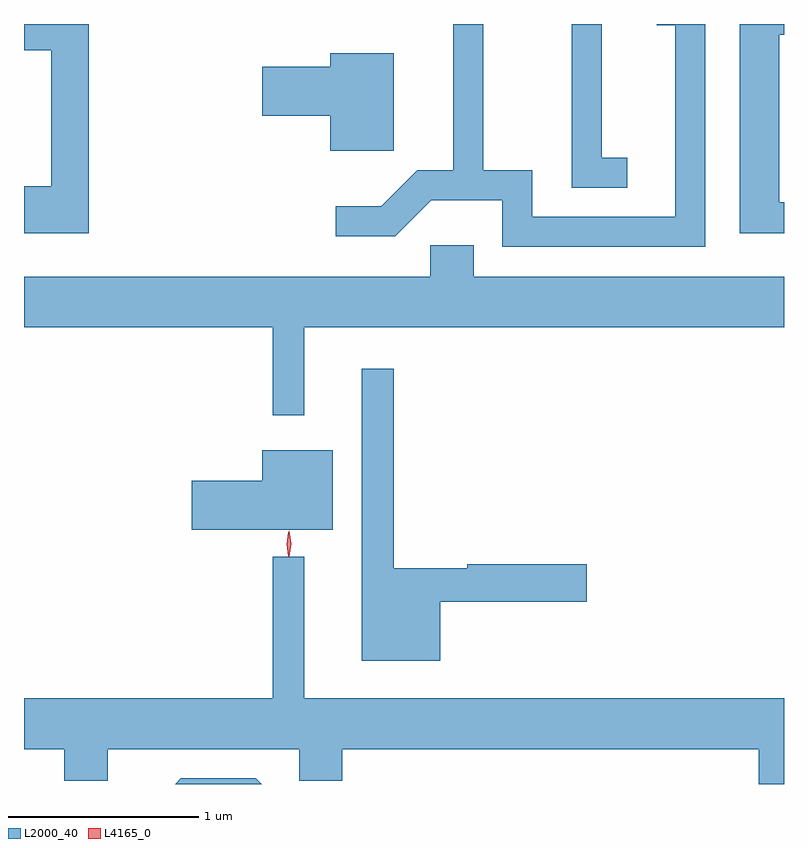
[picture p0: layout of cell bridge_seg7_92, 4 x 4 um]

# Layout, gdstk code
import gdstk
lib = gdstk.Library(unit=1e-6, precision=1e-09)
def P(c, l, *ps):  # polygons
    for p in ps: c.add(gdstk.Polygon(p, *l))
L2000_40 = (2000, 40)
L4165_0 = (4165, 0)

bridge_seg7_92 = lib.new_cell('bridge_seg7_92')
P(bridge_seg7_92, L2000_40, [(1641.433,1757.154),(1641.409,1757.154),(1641.409,1758.036),(1641.433,1758.036),(1641.433,1758.093),(1641.201,1758.093),(1641.201,1756.991),(1641.433,1756.991)],
  [(1637.774,1758.093),(1637.433,1758.093),(1637.433,1757.956),(1637.576,1757.956),(1637.576,1757.239),(1637.433,1757.239),(1637.433,1756.991),(1637.774,1756.991)],
  [(1640.608,1757.389),(1640.474,1757.389),(1640.474,1758.093),(1640.316,1758.093),(1640.316,1757.231),(1640.608,1757.231)],
  [(1641.019,1758.093),(1640.763,1758.093),(1640.763,1758.086),(1640.861,1758.086),(1640.861,1757.079),(1640.109,1757.079),(1640.109,1757.324),(1639.849,1757.324),(1639.849,1758.093),(1639.691,1758.093),(1639.691,1757.324),(1639.504,1757.324),(1639.314,1757.134),(1639.073,1757.134),(1639.073,1756.976),(1639.387,1756.976),(1639.577,1757.166),(1639.951,1757.166),(1639.951,1756.921),(1641.019,1756.921)],
  [(1639.379,1757.939),(1639.046,1757.939),(1639.046,1757.869),(1638.686,1757.869),(1638.686,1757.611),(1639.046,1757.611),(1639.046,1757.426),(1639.379,1757.426)],
  [(1638.909,1756.496),(1641.433,1756.496),(1641.433,1756.764),(1639.799,1756.764),(1639.799,1756.929),(1639.571,1756.929),(1639.571,1756.764),(1637.433,1756.764),(1637.433,1756.496),(1638.741,1756.496),(1638.741,1756.033),(1638.909,1756.033)],
  [(1639.624,1755.051),(1640.394,1755.051),(1640.394,1755.249),(1639.766,1755.249),(1639.766,1755.229),(1639.379,1755.229),(1639.379,1756.278),(1639.211,1756.278),(1639.211,1754.741),(1639.624,1754.741)],
  [(1639.059,1755.849),(1638.686,1755.849),(1638.686,1755.689),(1638.316,1755.689),(1638.316,1755.431),(1639.059,1755.431)],
  [(1641.433,1754.544),(1638.909,1754.544),(1638.909,1755.288),(1638.741,1755.288),(1638.741,1754.544),(1637.433,1754.544),(1637.433,1754.276),(1637.646,1754.276),(1637.646,1754.111),(1637.874,1754.111),(1637.874,1754.276),(1638.881,1754.276),(1638.881,1754.111),(1639.109,1754.111),(1639.109,1754.276),(1641.301,1754.276),(1641.301,1754.093),(1641.433,1754.093)],
  [(1638.652,1754.124),(1638.259,1754.124),(1638.228,1754.093),(1638.683,1754.093)])
P(bridge_seg7_92, L4165_0, [(1638.828,1755.29),(1638.828,1755.29),(1638.819,1755.358),(1638.829,1755.425),(1638.83,1755.426),(1638.83,1755.425),(1638.839,1755.358),(1638.829,1755.29)],
  [(1638.824,1755.293),(1638.815,1755.356),(1638.824,1755.419),(1638.825,1755.42),(1638.826,1755.419),(1638.835,1755.356),(1638.826,1755.293),(1638.825,1755.293)])

lib.write_gds('bridge_seg7_92.gds')
